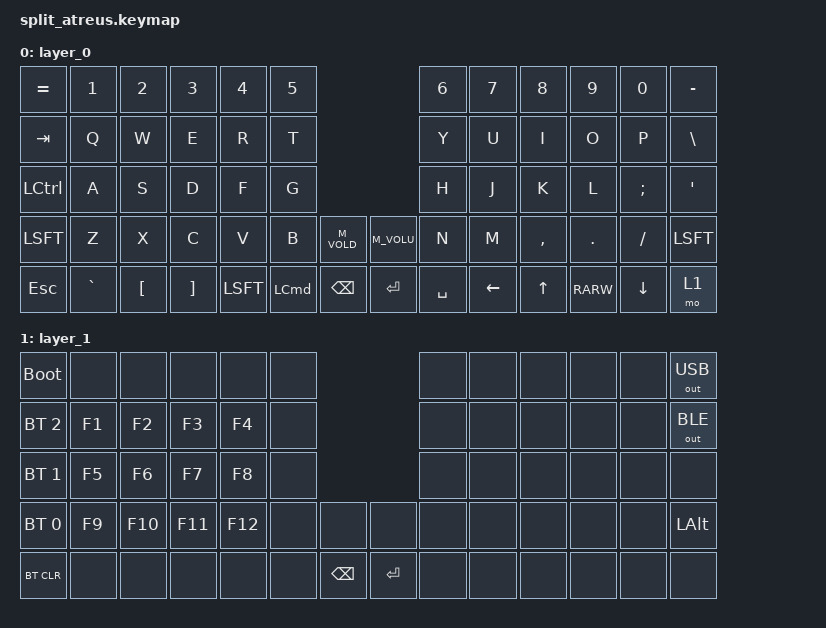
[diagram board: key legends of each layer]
/*
 * Copyright (c) 2020 The ZMK Contributors
 *
 * SPDX-License-Identifier: MIT
 */
// 
//  &kp C_PLAY &kp HOME   &kp END    &kp INS
// &kp BKSP   &kp DEL    &kp PGUP   &kp PGDN   &kp RET   &kp SPC 
// 						&kp LGUI   &mo 1

#include <behaviors.dtsi>
#include <dt-bindings/zmk/keys.h>
#include <dt-bindings/zmk/bt.h>
#include <dt-bindings/zmk/outputs.h>

/ {
	keymap {
		compatible = "zmk,keymap";
		layer_0 {
			bindings = <
	&kp EQL    &kp NUM_1  &kp NUM_2  &kp NUM_3  &kp NUM_4  &kp NUM_5                      &kp NUM_6  &kp NUM_7  &kp NUM_8  &kp NUM_9  &kp NUM_0  &kp MINUS
	&kp TAB    &kp Q      &kp W      &kp E      &kp R      &kp T                          &kp Y      &kp U      &kp I      &kp O      &kp P      &kp BSLH
	&kp LCTRL  &kp A      &kp S      &kp D      &kp F      &kp G                          &kp H      &kp J      &kp K      &kp L      &kp SCLN   &kp QUOT
	&kp LSFT   &kp Z      &kp X      &kp C      &kp V      &kp B   &kp M_VOLD &kp M_VOLU  &kp N      &kp M      &kp CMMA   &kp DOT    &kp FSLH   &kp LSFT
	&kp ESC    &kp GRAV   &kp LBKT   &kp RBKT   &kp LSFT   &kp LCMD   &kp BKSP &kp RET    &kp SPC    &kp LEFT   &kp UP     &kp RARW   &kp DOWN   &mo 1
	                                                       
			>;
		};
		layer_1 {
			bindings = <                                                                    
	&bootloader      &none    &none      &none      &none      &none                                &none      &none      &none      &none      &none      &out OUT_USB
	&bt BT_SEL 2     &kp F1   &kp F2     &kp F3     &kp F4     &none                                &none      &none      &none      &none      &none      &out OUT_BLE
	&bt BT_SEL 1     &kp F5   &kp F6     &kp F7     &kp F8     &none                                &none      &none      &none      &none      &none      &none
  &bt BT_SEL 0     &kp F9   &kp F10    &kp F11    &kp F12    &none       &none    &none           &none      &none      &none      &none      &none      &kp LALT
  &bt BT_CLR       &none    &none      &none      &none      &none       &kp BKSP &kp RET         &none      &none      &none      &none      &none      &none
	                                                
			>;
		};
	};
};
